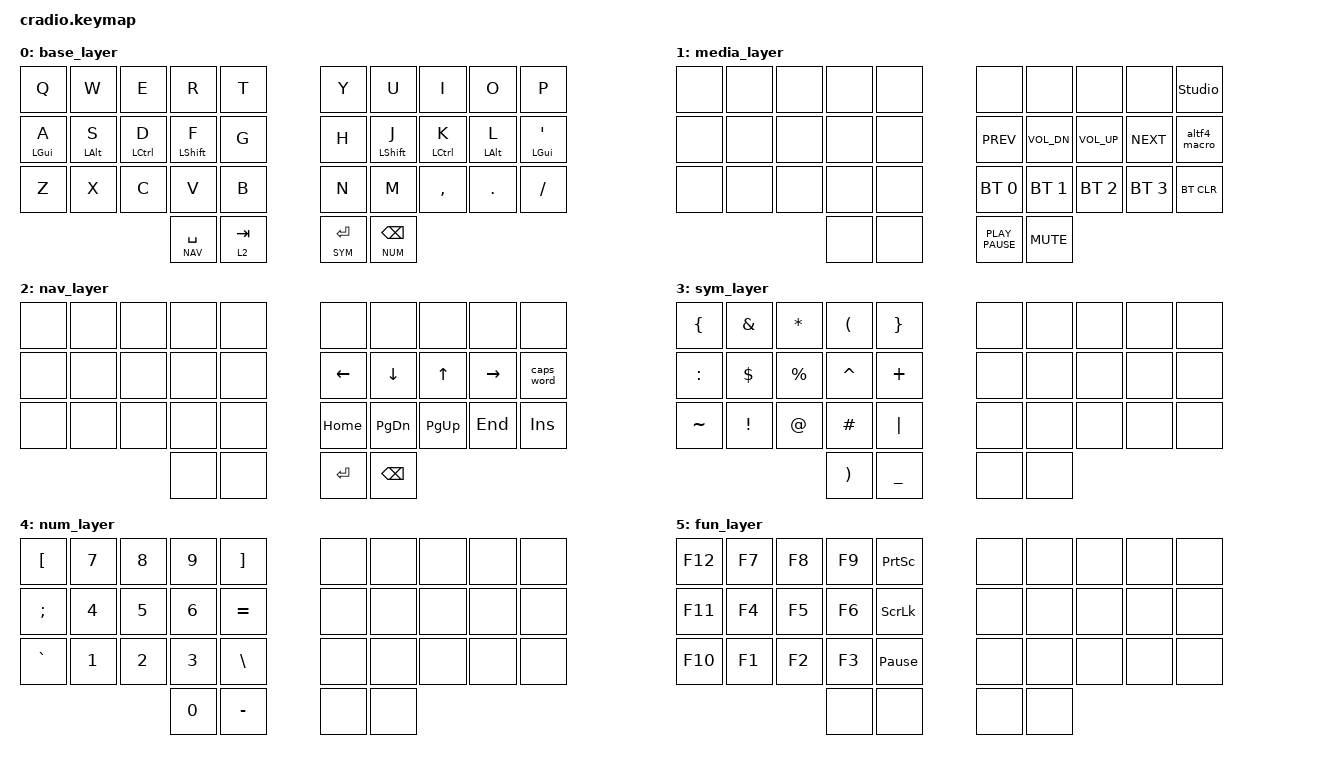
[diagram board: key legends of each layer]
// Copyright (c) 2022 The ZMK Contributors
// SPDX-License-Identifier: MIT

#include <behaviors.dtsi>
#include <dt-bindings/zmk/bt.h>
#include <dt-bindings/zmk/keys.h>

// Layer definitions

#define BSE 0
#define MDA 1
#define NAV 2
#define SYM 3
#define NUM 4
#define FUN 5

/ {
    behaviors {
        hmr: hmr {
            compatible = "zmk,behavior-hold-tap";
            #binding-cells = <2>;
            flavor = "balanced";
            tapping-term-ms = <225>;
            quick-tap-ms = <175>;
            require-prior-idle-ms = <150>;
            bindings = <&kp>, <&kp>;

            hold-trigger-key-positions = <0 24 23 22 21 20 0 1 2 3 4 10 11 12 13 14 31 30 33 32>;
            hold-trigger-on-release;
            label = "Home row mods right";
        };

        hml: hml {
            compatible = "zmk,behavior-hold-tap";
            #binding-cells = <2>;
            flavor = "balanced";
            tapping-term-ms = <225>;
            quick-tap-ms = <175>;
            require-prior-idle-ms = <150>;
            bindings = <&kp>, <&kp>;

            hold-trigger-on-release;
            hold-trigger-key-positions = <5 6 7 8 9 15 16 17 18 19 25 26 27 28 29 32 33 30 31>;
            label = "Home row mods left";
        };
    };

    combos {
        compatible = "zmk,combos";

        esc_combo {
            timeout-ms = <300>;
            key-positions = <30 31>;
            bindings = <&lt MDA ESC>;
            layers = <0>;
        };

        del_combo {
            timeout-ms = <300>;
            key-positions = <32 33>;
            bindings = <&lt FUN DEL>;
            layers = <0>;
        };

        cced_combo {
            bindings = <&cced_macro>;
            key-positions = <12 22>;
            layers = <0>;
        };

        atil_combo {
            bindings = <&atil_macro>;
            key-positions = <10 20>;
            layers = <0>;
        };

        ecir_combo {
            bindings = <&ecir_macro>;
            key-positions = <2 12>;
            layers = <0>;
        };

        ocir_combo {
            bindings = <&ocir_macro>;
            key-positions = <8 18>;
            layers = <0>;
        };

        otil_combo {
            bindings = <&otil_macro>;
            key-positions = <18 28>;
            layers = <0>;
        };

        acir_combo {
            bindings = <&acir_macro>;
            key-positions = <0 10>;
            layers = <0>;
        };
    };

    macros {
        cced_macro: cced_macro {
            compatible = "zmk,behavior-macro";
            #binding-cells = <0>;
            bindings = <&kp SQT &kp C>;
            label = "CCED_MACRO";
        };

        atil_macro: atil_macro {
            compatible = "zmk,behavior-macro";
            #binding-cells = <0>;
            bindings = <&kp TILDE &kp A>;
            label = "ATIL_MACRO";
        };

        ecir_macro: ecir_macro {
            compatible = "zmk,behavior-macro";
            #binding-cells = <0>;
            bindings = <&kp CARET &kp E>;
            label = "ECIR_MACRO";
        };

        ocir_macro: ocir_macro {
            compatible = "zmk,behavior-macro";
            #binding-cells = <0>;
            bindings = <&kp CARET &kp O>;
            label = "OCIR_MACRO";
        };

        otil_macro: otil_macro {
            compatible = "zmk,behavior-macro";
            #binding-cells = <0>;
            bindings = <&kp TILDE &kp O>;
            label = "OTIL_MACRO";
        };

        acir_macro: acir_macro {
            compatible = "zmk,behavior-macro";
            #binding-cells = <0>;
            bindings = <&kp CARET &kp A>;
            label = "ACIR_MACRO";
        };

        altf4_macro: altf4_macro {
            compatible = "zmk,behavior-macro";
            #binding-cells = <0>;
            bindings = <&sk LEFT_ALT &kp F4>;
            label = "ALTF4_MACRO";
        };
    };

    keymap {
        compatible = "zmk,keymap";

        base_layer {
            bindings = <
&kp Q        &kp W        &kp E         &kp R          &kp T        &kp Y        &kp U         &kp I         &kp O        &kp P
&hml LGUI A  &hml LALT S  &hml LCTRL D  &hml LSHFT F   &kp G        &kp H        &hmr LSHFT J  &hmr LCTRL K  &hmr LALT L  &hmr LGUI SQT
&kp Z        &kp X        &kp C         &kp V          &kp B        &kp N        &kp M         &kp COMMA     &kp DOT      &kp SLASH
                                        &lt NAV SPACE  &lt 2 TAB    &lt SYM RET  &lt NUM BSPC
            >;
        };

        media_layer {
            bindings = <
&none  &none  &none  &none  &none    &none             &none         &none         &none         &studio_unlock
&none  &none  &none  &none  &none    &kp C_PREV        &kp C_VOL_DN  &kp C_VOL_UP  &kp C_NEXT    &altf4_macro
&none  &none  &none  &none  &none    &bt BT_SEL 0      &bt BT_SEL 1  &bt BT_SEL 2  &bt BT_SEL 3  &bt BT_CLR
                     &none  &none    &kp K_PLAY_PAUSE  &kp C_MUTE
            >;
        };

        nav_layer {
            bindings = <
&none  &none  &none  &none  &none    &none     &none      &none      &none      &none
&none  &none  &none  &none  &none    &kp LEFT  &kp DOWN   &kp UP     &kp RIGHT  &caps_word
&none  &none  &none  &none  &none    &kp HOME  &kp PG_DN  &kp PG_UP  &kp END    &kp INS
                     &none  &none    &kp RET   &kp BSPC
            >;
        };

        sym_layer {
            bindings = <
&kp LBRC   &kp AMPS  &kp ASTRK  &kp LPAR   &kp RBRC     &none  &none  &none  &none  &none
&kp COLON  &kp DLLR  &kp PRCNT  &kp CARET  &kp PLUS     &none  &none  &none  &none  &none
&kp TILDE  &kp EXCL  &kp AT     &kp HASH   &kp PIPE     &none  &none  &none  &none  &none
                                &kp RPAR   &kp UNDER    &none  &none
            >;
        };

        num_layer {
            bindings = <
&kp LBKT   &kp N7  &kp N8  &kp N9  &kp RBKT     &none  &none  &none  &none  &none
&kp SEMI   &kp N4  &kp N5  &kp N6  &kp EQUAL    &none  &none  &none  &none  &none
&kp GRAVE  &kp N1  &kp N2  &kp N3  &kp BSLH     &none  &none  &none  &none  &none
                           &kp N0  &kp MINUS    &none  &none
            >;
        };

        fun_layer {
            bindings = <
&kp F12  &kp F7  &kp F8  &kp F9  &kp PSCRN          &none  &none  &none  &none  &none
&kp F11  &kp F4  &kp F5  &kp F6  &kp SLCK           &none  &none  &none  &none  &none
&kp F10  &kp F1  &kp F2  &kp F3  &kp PAUSE_BREAK    &none  &none  &none  &none  &none
                         &none   &none              &none  &none
            >;
        };
    };
};
